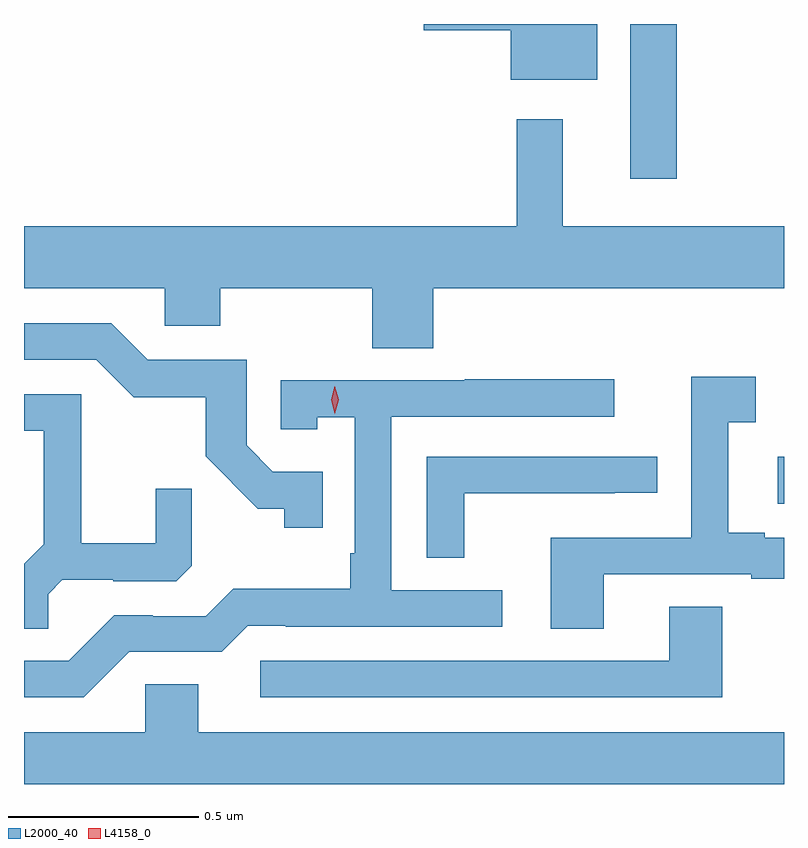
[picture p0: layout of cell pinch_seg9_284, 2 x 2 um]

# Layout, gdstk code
import gdstk
lib = gdstk.Library(unit=1e-6, precision=1e-09)
def R(c, l, rs):  # rectangles x0, y0, x1, y1
    for r in rs: c.add(gdstk.rectangle(r[:2], r[2:], *l))
def P(c, l, *ps):  # polygons
    for p in ps: c.add(gdstk.Polygon(p, *l))
L2000_40 = (2000, 40)
L4158_0 = (4158, 0)

pinch_seg9_284 = lib.new_cell('pinch_seg9_284')
R(pinch_seg9_284, L2000_40, [(421.365,1183.865,421.381,1183.989), (420.977,1184.721,421.099,1185.128)])
P(pinch_seg9_284, L2000_40, [(420.889,1185.128),(420.433,1185.128),(420.433,1185.112),(420.662,1185.112),(420.662,1184.981),(420.889,1184.981)],
  [(420.458,1184.432),(421.381,1184.432),(421.381,1184.596),(420.799,1184.596),(420.799,1184.878),(420.678,1184.878),(420.678,1184.596),(419.381,1184.596),(419.381,1184.432),(419.751,1184.432),(419.751,1184.334),(419.898,1184.334),(419.898,1184.432),(420.298,1184.432),(420.298,1184.275),(420.458,1184.275)],
  [(420.167,1183.95),(420.036,1183.95),(419.967,1184.019),(419.967,1184.244),(419.706,1184.244),(419.61,1184.34),(419.381,1184.34),(419.381,1184.244),(419.571,1184.244),(419.67,1184.146),(419.859,1184.146),(419.859,1183.99),(419.996,1183.853),(420.066,1183.853),(420.066,1183.803),(420.167,1183.803)],
  [(420.907,1183.68),(421.295,1183.68),(421.295,1183.668),(421.381,1183.668),(421.381,1183.776),(421.33,1183.776),(421.33,1183.789),(421.234,1183.789),(421.234,1184.08),(421.306,1184.08),(421.306,1184.2),(421.137,1184.2),(421.137,1183.776),(420.767,1183.776),(420.767,1183.537),(420.907,1183.537)],
  [(419.658,1183.476),(419.901,1183.476),(419.97,1183.545),(420.07,1183.545),(420.07,1183.542),(420.64,1183.542),(420.64,1183.638),(420.348,1183.638),(420.348,1184.094),(420.934,1184.094),(420.934,1184.193),(420.541,1184.193),(420.541,1184.19),(420.057,1184.19),(420.057,1184.061),(420.153,1184.061),(420.153,1184.093),(420.252,1184.093),(420.252,1183.735),(420.24,1183.735),(420.24,1183.642),(419.932,1183.642),(419.859,1183.569),(419.72,1183.569),(419.72,1183.572),(419.619,1183.572),(419.499,1183.452),(419.381,1183.452),(419.381,1183.356),(419.538,1183.356)],
  [(419.445,1183.628),(419.482,1183.665),(419.616,1183.665),(419.616,1183.662),(419.781,1183.662),(419.822,1183.703),(419.822,1183.905),(419.728,1183.905),(419.728,1183.762),(419.531,1183.762),(419.531,1184.154),(419.381,1184.154),(419.381,1184.058),(419.433,1184.058),(419.433,1183.759),(419.381,1183.707),(419.381,1183.537),(419.445,1183.537)],
  [(420.54,1183.893),(420.935,1183.893),(420.935,1183.894),(421.048,1183.894),(421.048,1183.989),(420.441,1183.989),(420.441,1183.723),(420.54,1183.723)],
  [(421.219,1183.595),(421.079,1183.595),(421.079,1183.452),(420.003,1183.452),(420.003,1183.356),(421.219,1183.356)],
  [(421.381,1183.264),(419.839,1183.264),(419.839,1183.391),(419.7,1183.391),(419.7,1183.264),(419.381,1183.264),(419.381,1183.128),(421.381,1183.128)])
P(pinch_seg9_284, L4158_0, [(420.199,1184.103),(420.199,1184.103),(420.189,1184.139),(420.199,1184.175),(420.199,1184.175),(420.199,1184.175),(420.209,1184.139),(420.199,1184.103)])

lib.write_gds('pinch_seg9_284.gds')
